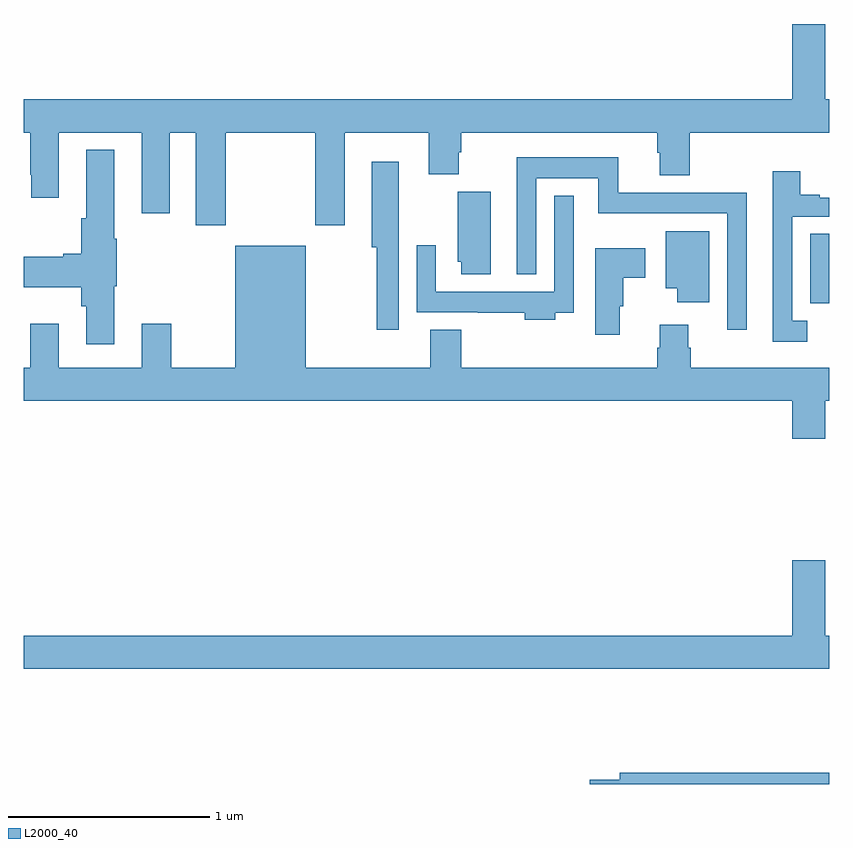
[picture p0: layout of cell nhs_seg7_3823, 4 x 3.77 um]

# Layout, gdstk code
import gdstk
lib = gdstk.Library(unit=1e-6, precision=1e-09)
def R(c, l, rs):  # rectangles x0, y0, x1, y1
    for r in rs: c.add(gdstk.rectangle(r[:2], r[2:], *l))
def P(c, l, *ps):  # polygons
    for p in ps: c.add(gdstk.Polygon(p, *l))
L2000_40 = (2000, 40)

nhs_seg7_3823 = lib.new_cell('nhs_seg7_3823')
R(nhs_seg7_3823, L2000_40, [(356.906,1046.389,357,1046.732)])
P(nhs_seg7_3823, L2000_40, [(357,1047.4),(356.98,1047.4),(356.98,1047.775),(356.816,1047.775),(356.816,1047.4),(353,1047.4),(353,1047.236),(353.033,1047.236),(353.033,1047.025),(353.036,1047.025),(353.036,1046.913),(353.173,1046.913),(353.173,1047.236),(353.585,1047.236),(353.585,1046.835),(353.725,1046.835),(353.725,1047.236),(353.855,1047.236),(353.855,1046.775),(354.003,1046.775),(354.003,1047.236),(354.448,1047.236),(354.448,1046.775),(354.595,1046.775),(354.595,1047.236),(355.012,1047.236),(355.012,1047.028),(355.159,1047.028),(355.159,1047.137),(355.172,1047.137),(355.172,1047.236),(356.147,1047.236),(356.147,1047.135),(356.159,1047.135),(356.159,1047.023),(356.307,1047.023),(356.307,1047.236),(357,1047.236)],
  [(353.449,1046.472),(353.462,1046.472),(353.462,1046.709),(353.449,1046.709),(353.449,1047.151),(353.309,1047.151),(353.309,1046.809),(353.284,1046.809),(353.284,1046.633),(353.195,1046.633),(353.195,1046.62),(353,1046.62),(353,1046.468),(353.284,1046.468),(353.284,1046.373),(353.309,1046.373),(353.309,1046.184),(353.449,1046.184)],
  [(356.59,1046.938),(355.952,1046.938),(355.952,1047.112),(355.448,1047.112),(355.448,1046.531),(355.545,1046.531),(355.545,1047.008),(355.854,1047.008),(355.854,1046.834),(356.493,1046.834),(356.493,1046.256),(356.59,1046.256)],
  [(354.861,1046.77),(354.862,1046.77),(354.862,1047.091),(354.728,1047.091),(354.728,1046.666),(354.753,1046.666),(354.753,1046.256),(354.861,1046.256)],
  [(356.89,1046.301),(356.817,1046.301),(356.817,1046.817),(357,1046.817),(357,1046.913),(356.953,1046.913),(356.953,1046.926),(356.857,1046.926),(356.857,1047.043),(356.72,1047.043),(356.72,1046.196),(356.89,1046.196)],
  [(355.318,1046.943),(355.154,1046.943),(355.154,1046.595),(355.172,1046.595),(355.172,1046.532),(355.318,1046.532)],
  [(355.639,1046.34),(355.731,1046.34),(355.731,1046.923),(355.635,1046.923),(355.635,1046.446),(355.047,1046.446),(355.047,1046.677),(354.951,1046.677),(354.951,1046.342),(355.255,1046.342),(355.255,1046.34),(355.487,1046.34),(355.487,1046.306),(355.639,1046.306)],
  [(356.404,1046.746),(356.189,1046.746),(356.189,1046.462),(356.246,1046.462),(356.246,1046.394),(356.404,1046.394)],
  [(356.98,1045.904),(357,1045.904),(357,1046.068),(356.312,1046.068),(356.312,1046.166),(356.299,1046.166),(356.299,1046.281),(356.159,1046.281),(356.159,1046.166),(356.147,1046.166),(356.147,1046.068),(355.172,1046.068),(355.172,1046.257),(355.019,1046.257),(355.019,1046.068),(354.4,1046.068),(354.4,1046.674),(354.05,1046.674),(354.05,1046.068),(353.733,1046.068),(353.733,1046.287),(353.585,1046.287),(353.585,1046.068),(353.173,1046.068),(353.173,1046.287),(353.033,1046.287),(353.033,1046.068),(353,1046.068),(353,1045.904),(356.816,1045.904),(356.816,1045.716),(356.98,1045.716)],
  [(355.96,1046.373),(355.978,1046.373),(355.978,1046.515),(356.086,1046.515),(356.086,1046.662),(355.838,1046.662),(355.838,1046.232),(355.96,1046.232)],
  [(357,1044.736),(356.98,1044.736),(356.98,1045.111),(356.816,1045.111),(356.816,1044.736),(353,1044.736),(353,1044.572),(357,1044.572)],
  [(357,1044.056),(355.961,1044.056),(355.961,1044.02),(355.812,1044.02),(355.812,1044),(357,1044)])

lib.write_gds('nhs_seg7_3823.gds')
